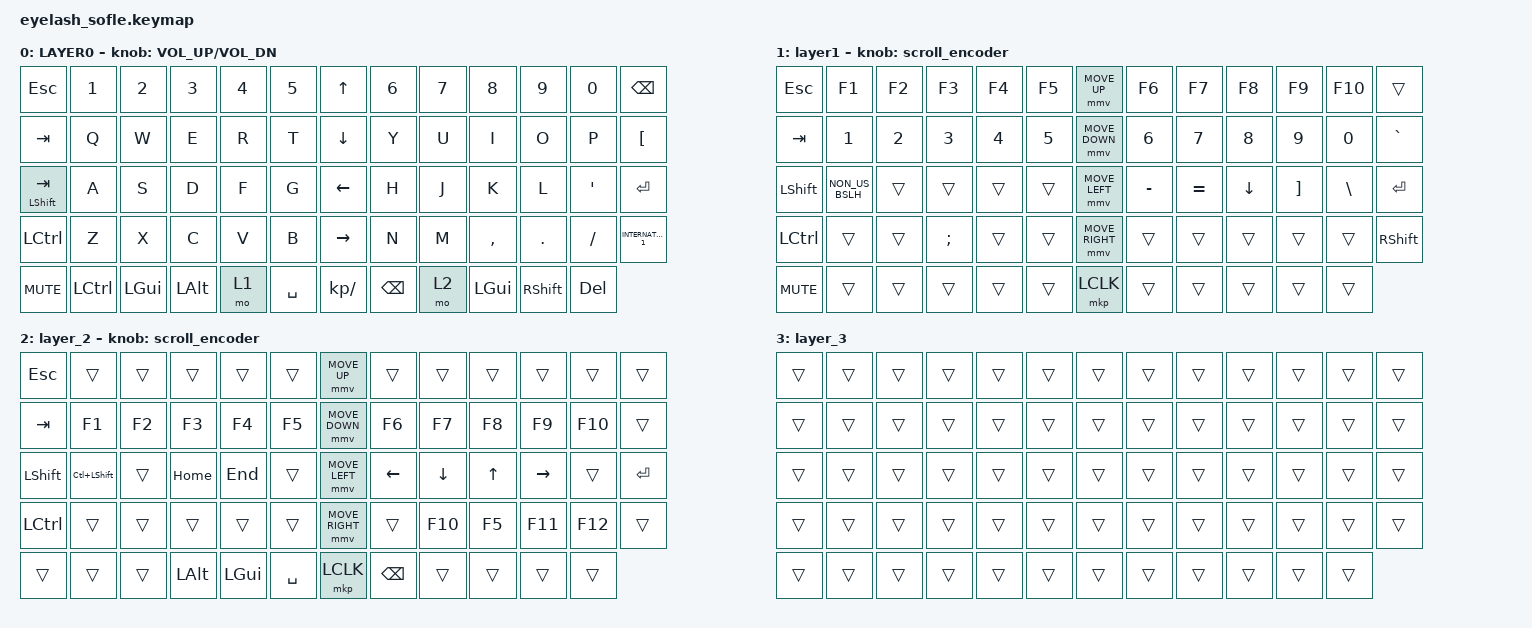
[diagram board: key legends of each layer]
#define ZMK_POINTING_DEFAULT_MOVE_VAL 1200  // 600
#define ZMK_POINTING_DEFAULT_SCRL_VAL 35    // 10

#include <input/processors.dtsi>
#include <zephyr/dt-bindings/input/input-event-codes.h>
#include <behaviors.dtsi>
#include <dt-bindings/zmk/keys.h>
#include <dt-bindings/zmk/pointing.h>

/ {
    zip_scroll_scaler: zip_scroll_scaler {
        compatible = "zmk,input-processor-scaler";
        #input-processor-cells = <2>;
        type = <INPUT_EV_REL>;
        codes = <INPUT_REL_WHEEL INPUT_REL_HWHEEL>;
        track-remainders;
    };
};

&mmv_input_listener { input-processors = <&zip_xy_scaler 2 1>; };

&msc_input_listener { input-processors = <&zip_scroll_scaler 2 1>; };

&msc {
    acceleration-exponent = <0>;      // 0
    time-to-max-speed-ms = <0>;       // 300
    delay-ms = <0>;                   // 0
};

&mmv {
    time-to-max-speed-ms = <400>;
    acceleration-exponent = <1>;
};

/ {
    scroll_encoder: scroll_encoder {
        compatible = "zmk,behavior-sensor-rotate";
        #sensor-binding-cells = <0>;
        bindings = <&msc SCRL_DOWN>, <&msc SCRL_UP>;

        tap-ms = <30>;
    };

    behaviors {
    };

    keymap {
        compatible = "zmk,keymap";

        layer0 {
            bindings = <
&kp ESC        &kp N1     &kp N2        &kp N3        &kp N4  &kp N5       &kp UP_ARROW     &kp N6    &kp N7  &kp N8     &kp N9           &kp N0      &kp BACKSPACE
&kp TAB        &kp Q      &kp W         &kp E         &kp R   &kp T        &kp DOWN_ARROW   &kp Y     &kp U   &kp I      &kp O            &kp P       &kp LBKT
&mt LSHFT TAB  &kp A      &kp S         &kp D         &kp F   &kp G        &kp LEFT_ARROW   &kp H     &kp J   &kp K      &kp L            &kp APOS    &kp ENTER
&kp LCTRL      &kp Z      &kp X         &kp C         &kp V   &kp B        &kp RIGHT_ARROW  &kp N     &kp M   &kp COMMA  &kp DOT          &kp SLASH   &kp INTERNATIONAL_1
&kp C_MUTE     &kp LCTRL  &kp LEFT_GUI  &kp LEFT_ALT  &mo 1   &kp SPACE    &kp KP_DIVIDE    &kp BSPC  &mo 2   &kp LGUI   &kp RIGHT_SHIFT  &kp DELETE
            >;

            sensor-bindings = <&inc_dec_kp C_VOLUME_UP C_VOL_DN>;
            display-name = "LAYER0";
        };

        layer_1 {
            bindings = <
&kp ESC     &kp F1           &kp F2  &kp F3    &kp F4  &kp F5    &mmv MOVE_UP     &kp F6     &kp F7     &kp F8    &kp F9             &kp F10        &trans
&kp TAB     &kp N1           &kp N2  &kp N3    &kp N4  &kp N5    &mmv MOVE_DOWN   &kp N6     &kp N7     &kp N8    &kp N9             &kp N0         &kp GRAVE
&kp LSHFT   &kp NON_US_BSLH  &trans  &trans    &trans  &trans    &mmv MOVE_LEFT   &kp MINUS  &kp EQUAL  &kp DOWN  &kp RIGHT_BRACKET  &kp BACKSLASH  &kp RET
&kp LCTRL   &trans           &trans  &kp SEMI  &trans  &trans    &mmv MOVE_RIGHT  &trans     &trans     &trans    &trans             &trans         &kp RSHFT
&kp C_MUTE  &trans           &trans  &trans    &trans  &trans    &mkp LCLK        &trans     &trans     &trans    &trans             &trans
            >;

            display-name = "layer1";
            sensor-bindings = <&scroll_encoder>;
        };

        layer_2 {
            bindings = <
&kp ESC    &trans              &trans  &trans    &trans    &trans       &mmv MOVE_UP     &trans    &trans    &trans  &trans     &trans   &trans
&kp TAB    &kp F1              &kp F2  &kp F3    &kp F4    &kp F5       &mmv MOVE_DOWN   &kp F6    &kp F7    &kp F8  &kp F9     &kp F10  &trans
&kp LSHFT  &kp LC(LEFT_SHIFT)  &trans  &kp HOME  &kp END   &trans       &mmv MOVE_LEFT   &kp LEFT  &kp DOWN  &kp UP  &kp RIGHT  &trans   &kp RET
&kp LCTRL  &trans              &trans  &trans    &trans    &trans       &mmv MOVE_RIGHT  &trans    &kp F10   &kp F5  &kp F11    &kp F12  &trans
&trans     &trans              &trans  &kp LALT  &kp LGUI  &kp SPACE    &mkp LCLK        &kp BSPC  &trans    &trans  &trans     &trans
            >;

            sensor-bindings = <&scroll_encoder>;
        };

        layer_3 {
            bindings = <
&trans  &trans  &trans  &trans  &trans  &trans    &trans  &trans  &trans  &trans  &trans  &trans  &trans
&trans  &trans  &trans  &trans  &trans  &trans    &trans  &trans  &trans  &trans  &trans  &trans  &trans
&trans  &trans  &trans  &trans  &trans  &trans    &trans  &trans  &trans  &trans  &trans  &trans  &trans
&trans  &trans  &trans  &trans  &trans  &trans    &trans  &trans  &trans  &trans  &trans  &trans  &trans
&trans  &trans  &trans  &trans  &trans  &trans    &trans  &trans  &trans  &trans  &trans  &trans
            >;
        };
    };
};
